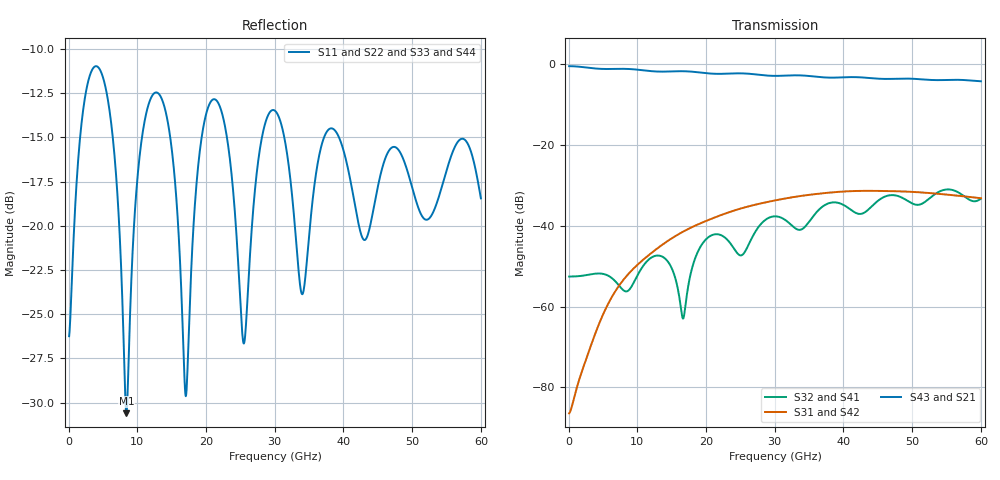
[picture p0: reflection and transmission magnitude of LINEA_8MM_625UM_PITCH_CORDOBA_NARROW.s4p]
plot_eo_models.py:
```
"""CORDOBA HZ, 8 mm: FEXT |S41| (s4p), EO crosstalk B/A from the gap fields (12 monitor points, exact for
the TD model) and EO crosstalk from the two-CPW-mode equivalent line extracted from the same s4p
(pair-even/pair-odd lines, the GUI's "Crosstalk from s4p" model, variant "Ze = Zo": indices from the s4p,
one common impedance; the "exact terminals" variant is not plotted, see results). All at 50 ohm source and load, push-pull, optical n_g 2.27."""
import os, sys
sys.path.insert(0, os.path.abspath(os.path.join(os.path.dirname(__file__), "../../../..")))
import numpy as np, skrf, matplotlib
matplotlib.use("Agg")
import matplotlib.pyplot as plt
from mzm_interconnect import parameters as P, xtalk_s4p as X, xtalk_fields as XF
HERE = os.path.dirname(os.path.abspath(__file__))
S4P = os.path.join(HERE, "LINEA_8MM_625UM_PITCH_CORDOBA_NARROW.s4p")
INK, MUTED, GRID, SURF = "#1f1f1e", "#6b6a64", "#e4e3de", "#fcfcfb"
C_FEXT, C_FIELD, C_EQ, C_FULL = "#eb6834", "#1f1f1e", "#2a78d6", "#1baf7a"
plt.rcParams.update({"font.size": 10, "axes.edgecolor": MUTED, "axes.labelcolor": INK, "xtick.color": MUTED,
                     "ytick.color": MUTED, "axes.facecolor": SURF, "figure.facecolor": SURF, "axes.grid": True,
                     "grid.color": GRID, "grid.linewidth": 0.8, "axes.spines.top": False, "axes.spines.right": False})
d = lambda x: 20 * np.log10(np.abs(x) + 1e-30)
p = P.defaults(); p["Rt_R"] = 50.0; p["Zs_R"] = 50.0; p["f_max_GHz"] = 60.0
pair = X.load_pair(S4P, 8.0)
net = skrf.Network(S4P)
fld = XF.eo_crosstalk_fields(p, XF.load_field_dir(HERE), pair)
dev = X.device_crosstalk_s4p(p, pair)
fm = dev["f_GHz"]
xeq = dev["eq"]["resp"]["H_B"] / dev["eq"]["resp"]["H_A"]
xfu = dev["full"]["resp"]["H_B"] / dev["full"]["resp"]["H_A"]
fig, a = plt.subplots(figsize=(10, 5.5))
a.plot(net.f / 1e9, d(net.s[:, 3, 0]), color=C_FEXT, lw=2, label="FEXT |S41| (s4p)")
a.plot(fm, d(xeq), color=C_EQ, lw=2, label="EO, two-CPW-mode line from the s4p (one impedance for both modes)")
a.plot(fld["f_GHz"], d(fld["X"]), "o", color=C_FIELD, ms=8, mec=SURF, mew=2, label="EO from the CST gap fields (exact, monitor points)")
a.plot(fld["f_GHz"], d(fld["X"]), ":", color=C_FIELD, lw=1.2)
a.set_xlim(0, 60); a.set_ylim(-85, -20)
a.set_xlabel("Frequency (GHz)"); a.set_ylabel("dB (amplitude ratio)")
a.set_title("CORDOBA high impedance, 8 mm (signal 10 µm, grounds 25 µm): EO crosstalk B/A and FEXT\n"
            "(50 Ω source and load, push-pull, optical n_g 2.27; dotted line only joins the field points)", loc="left", color=INK, fontsize=10)
a.legend(frameon=False, loc="lower right", fontsize=9)
fig.tight_layout(); fig.savefig(os.path.join(HERE, "eo_models_hz.png"), dpi=150)
print(" f GHz | fields | Ze=Zo  (diff) | exact terminals (diff) | FEXT")
for i, g in enumerate(fld["f_GHz"]):
    j = np.argmin(abs(fm - g)); k = np.argmin(abs(net.f / 1e9 - g))
    F = d(fld["X"][i]); E = d(xeq[j]); U = d(xfu[j])
    print(f" {g:5.0f} | {F:6.1f} | {E:6.1f} ({E-F:+5.1f}) | {U:6.1f} ({U-F:+5.1f})          | {d(net.s[k,3,0]):6.1f}")
```
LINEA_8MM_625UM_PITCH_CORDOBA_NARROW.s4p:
! TOUCHSTONE file generated by CST MICROWAVE STUDIO
! Date and time: Thu Oct 29 13:48:41 2026
! Project name: LINEA_8MM_625UM_PITCH_CORDOBA_NARROW.cst
! Parameters = {CHANNEL_PITCH=0.625; GAP=0.00415; L=8; L1=0.02; L2=0.086; L3=0.066; NCELL=1; PITCH=0.18; START_POSITION=0.13; W1=0.003; W2=0.004; W3=0.009; WG=0.025; gap_oxr=0.00125; linbo3_thickness=0.0002; mtx=0.002; oxiDinE=0.0014; w=0.185; ws=0.01}
! Header version: 2024
! Port assignment regex: !\s*Touchstone port\s*([0-9]+)\s*=\s*(CST MWS port|CST DES external port|CST DES block port)\s*(.+)\s* \(\"(.*)\"\)(\s*mode\s*([0-9]+))?.*
! Touchstone port assignment:
! Touchstone port 1 = CST MWS port 1 ("")
! Touchstone port 2 = CST MWS port 2 ("")
! Touchstone port 3 = CST MWS port 3 ("")
! Touchstone port 4 = CST MWS port 4 ("")
# GHz S MA R 50
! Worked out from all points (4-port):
!   1000 points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, 60 MHz to 60 GHz, reference 50 ohm
!   strongest paths, dB at 60 MHz, 15.06 GHz, 30.06 GHz, 45.06 GHz, 60 GHz:
!     S43: -0.4, -1.7, -2.8, -3.5, -4.2
!     S21: -0.4, -1.7, -2.8, -3.5, -4.2
!     S31: -86.5, -43.0, -33.7, -31.3, -33.2
!     S42: -86.5, -43.0, -33.7, -31.3, -33.1
!     S32: -52.6, -50.8, -37.6, -33.7, -33.3
!     S41: -52.6, -50.8, -37.6, -33.7, -33.3
!   lowest |S11| = -30.6 dB at 8.4 GHz (marker M1), VSWR 1.06, Z = 53 - j0.525 ohm
!   |S11| at or under -10 dB: start of sweep to end of sweep
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0.06  0.04872 6.6  0.9523 -1.4  4.735e-05 1.5  0.002352 176.1
      0.9523 -1.4  0.04872 6.6  0.002352 176.1  4.744e-05 1.5
      4.748e-05 1.5  0.002352 176.1  0.04872 6.6  0.9523 -1.4
      0.002352 176.1  4.756e-05 1.5  0.9523 -1.4  0.04872 6.6
8.4  0.02949 -9.7  0.8812 -179.1  0.002375 -14.8  0.001539 -8.7
     0.8812 -179.1  0.02952 -9.7  0.001539 -8.7  0.002375 -14.8
     0.002375 -14.8  0.001539 -8.7  0.02949 -9.7  0.8812 -179.1
     0.001539 -8.7  0.002375 -14.8  0.8812 -179.1  0.02952 -9.7
60  0.1195 -32.6  0.6189 -164.9  0.02198 170.1  0.02171 111.3
    0.6189 -164.9  0.1194 -32.6  0.02171 111.3  0.022 170.2
    0.02199 170.1  0.0217 111.3  0.1195 -32.6  0.6189 -164.9
    0.0217 111.3  0.02201 170.2  0.6189 -164.9  0.1194 -32.6
